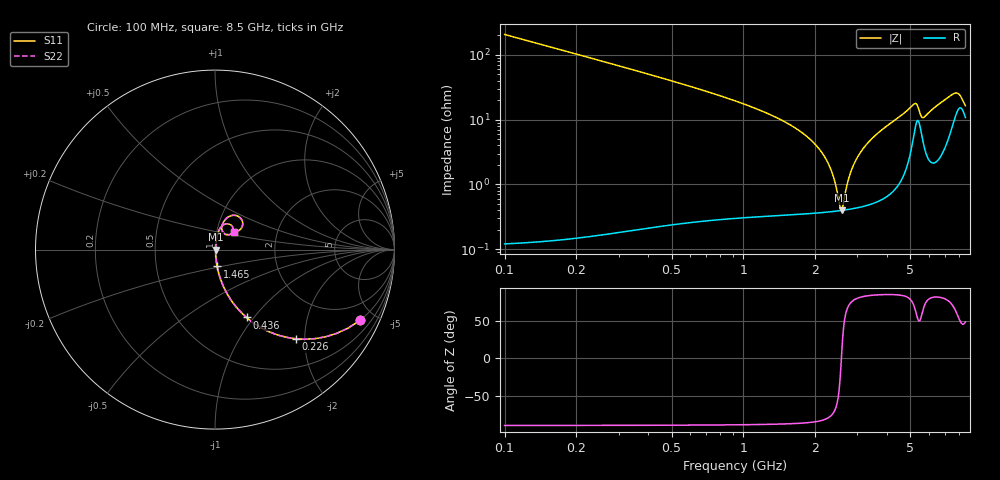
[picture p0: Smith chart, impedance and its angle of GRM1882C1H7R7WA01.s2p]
!Murata Part Number: GRM1882C1H7R7WA01
!These Parameters are Measured in Series Mode Connection
!Data Generated on Mar 30, 2021
!  o--ll--o
!Port1  Port2
!  o------o
!Operation Temp=25[degC], DC Bias Voltage=0[V]
!Freq. Start=100[MHz] Stop=9[GHz] 401[Steps]
# Hz S RI R 50
!Freq.(Hz) S11(Real) S11(Imag) S21(Real) S21(Imag) S12(Real) S12(Imag) S22(Real) S22(Imag)
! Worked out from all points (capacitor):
!   401 points, 100 MHz to 8.5 GHz, reference 50 ohm
!   read as one part in series: C = 7.71 pF near 142 MHz
!   lowest |Z| = 399 mohm at 2.578 GHz (marker M1)
!   series resonance near 2.571 GHz, so ESL is about 500 pH
!   S11 on the Smith chart (normalised r, x): 100 MHz: 1.00, -4.13; 226 MHz: 1.00, -1.81; 436 MHz: 1.00, -0.92; 1.465 GHz: 1.01, -0.19; 8.5 GHz: 1.22, +0.25
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1e8  0.8097 -0.3923  0.1903 0.3923  0.1903 0.3923  0.8097 -0.3923
2.26e8  0.4513 -0.4968  0.5487 0.4968  0.5487 0.4968  0.4513 -0.4968
4.36e8  0.1756 -0.3781  0.8244 0.3781  0.8244 0.3781  0.1756 -0.3781
7.72e8  0.0582 -0.2284  0.9418 0.2284  0.9418 0.2284  0.0582 -0.2284
1.465e9  0.0123 -0.0941  0.9877 0.0941  0.9877 0.0941  0.0123 -0.0941
1.507e9  0.0114 -0.0891  0.9886 0.0891  0.9886 0.0891  0.0114 -0.0891
1.927e9  0.00578 -0.047  0.9942 0.047  0.9942 0.047  0.00578 -0.047
2.2e9  0.00434 -0.0253  0.9957 0.0253  0.9957 0.0253  0.00434 -0.0253
2.368e9  0.00398 -0.0134  0.996 0.0134  0.996 0.0134  0.00398 -0.0134
2.536e9  0.00392 -0.00225  0.9961 0.00225  0.9961 0.00225  0.00392 -0.00225
2.578e9  0.00395 0.000429  0.9961 -0.000429  0.9961 -0.000429  0.00395 0.000429
2.767e9  0.00425 0.012  0.9957 -0.012  0.9957 -0.012  0.00425 0.012
2.914e9  0.00467 0.0207  0.9953 -0.0207  0.9953 -0.0207  0.00467 0.0207
3.124e9  0.00554 0.0325  0.9945 -0.0325  0.9945 -0.0325  0.00554 0.0325
3.418e9  0.00727 0.0483  0.9927 -0.0483  0.9927 -0.0483  0.00727 0.0483
4.3e9  0.0174 0.0951  0.9826 -0.0951  0.9826 -0.0951  0.0174 0.0951
5.203e9  0.0827 0.1407  0.9173 -0.1407  0.9173 -0.1407  0.0827 0.1407
5.56e9  0.0652 0.0821  0.9348 -0.0821  0.9348 -0.0821  0.0652 0.0821
5.707e9  0.0464 0.0939  0.9536 -0.0939  0.9536 -0.0939  0.0464 0.0939
7.114e9  0.079 0.1849  0.921 -0.1849  0.921 -0.1849  0.079 0.1849
7.849e9  0.1492 0.1655  0.8508 -0.1655  0.8508 -0.1655  0.1492 0.1655
8.5e9  0.1085 0.099  0.8915 -0.099  0.8915 -0.099  0.1085 0.099
